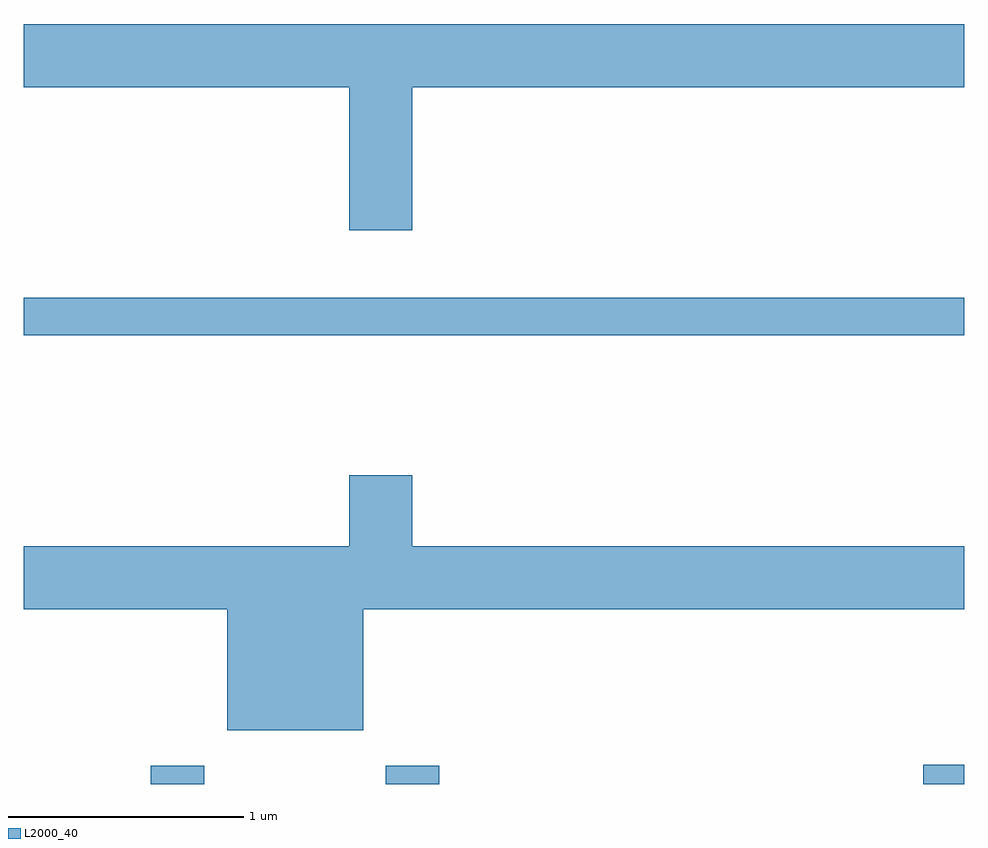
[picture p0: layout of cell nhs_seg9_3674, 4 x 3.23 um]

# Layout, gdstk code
import gdstk
lib = gdstk.Library(unit=1e-6, precision=1e-09)
def R(c, l, rs):  # rectangles x0, y0, x1, y1
    for r in rs: c.add(gdstk.rectangle(r[:2], r[2:], *l))
def P(c, l, *ps):  # polygons
    for p in ps: c.add(gdstk.Polygon(p, *l))
L2000_40 = (2000, 40)

nhs_seg9_3674 = lib.new_cell('nhs_seg9_3674')
R(nhs_seg9_3674, L2000_40, [(294.151,1964.432,294.379,1964.509), (295.151,1964.432,295.379,1964.509), (297.436,1964.432,297.611,1964.514), (293.611,1966.341,297.611,1966.499)])
P(nhs_seg9_3674, L2000_40, [(295.264,1967.396),(297.611,1967.396),(297.611,1967.664),(293.611,1967.664),(293.611,1967.396),(294.996,1967.396),(294.996,1966.786),(295.264,1966.786)],
  [(295.054,1965.176),(297.611,1965.176),(297.611,1965.444),(295.264,1965.444),(295.264,1965.744),(294.996,1965.744),(294.996,1965.444),(293.611,1965.444),(293.611,1965.176),(294.476,1965.176),(294.476,1964.661),(295.054,1964.661)])

lib.write_gds('nhs_seg9_3674.gds')
